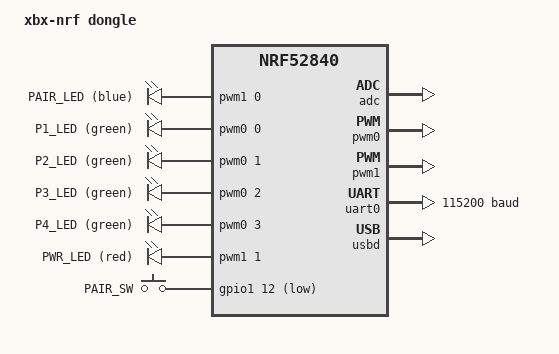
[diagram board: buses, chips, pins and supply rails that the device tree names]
/*
 * xbx-nrf dongle, Rev1 (pcb/xbx-nrf-dongle/), shared by both variants. Raytac
 * MDBT50Q-U1MV2 in normal voltage mode: VDD and VDDH from a 3.3 V LDO, so
 * REG0 is unused. The module
 * carries the REG1 DC/DC inductors. LEDs sink to their GPIO (active low),
 * so their PWM pins are open-drain: "off" floats the pin instead of driving
 * it high.
 */

#include <nordic/nrf52840_qiaa.dtsi>
#include "xbx_dongle_nrf52840-pinctrl.dtsi"
#include <zephyr/dt-bindings/input/input-event-codes.h>
#include <zephyr/dt-bindings/gpio/nordic-nrf-gpio.h>

/ {
	model = "xbx-nrf dongle";
	compatible = "xbx-nrf,dongle";

	chosen {
		zephyr,sram = &sram0;
		zephyr,flash = &flash0;
		zephyr,console = &uart0;
		zephyr,shell-uart = &uart0;
	};

	/* 1 ms period; brightness from the configurator (leds.c) */
	pwmleds {
		compatible = "pwm-leds";

		/* blue, 180 Ω: high drive (low side) */
		pair_led: pair_led {
			pwms = <&pwm1 0 PWM_MSEC(1) PWM_POLARITY_INVERTED>;
			label = "PAIR_LED (blue)";
		};

		p1_led: p1_led {
			pwms = <&pwm0 0 PWM_MSEC(1) PWM_POLARITY_INVERTED>;
			label = "P1_LED (green)";
		};

		p2_led: p2_led {
			pwms = <&pwm0 1 PWM_MSEC(1) PWM_POLARITY_INVERTED>;
			label = "P2_LED (green)";
		};

		p3_led: p3_led {
			pwms = <&pwm0 2 PWM_MSEC(1) PWM_POLARITY_INVERTED>;
			label = "P3_LED (green)";
		};

		p4_led: p4_led {
			pwms = <&pwm0 3 PWM_MSEC(1) PWM_POLARITY_INVERTED>;
			label = "P4_LED (green)";
		};

		/* only with JP1 2–3 bridged (pinctrl: why open-drain matters here) */
		pwr_led: pwr_led {
			pwms = <&pwm1 1 PWM_MSEC(1) PWM_POLARITY_INVERTED>;
			label = "PWR_LED (red)";
		};
	};

	buttons {
		compatible = "gpio-keys";

		pair_sw: pair_sw {
			gpios = <&gpio1 12 (GPIO_PULL_UP | GPIO_ACTIVE_LOW)>;
			label = "PAIR_SW";
			zephyr,code = <INPUT_KEY_0>;
		};
	};

	aliases {
		sw0 = &pair_sw;
		pwm-led0 = &pair_led;
		pwm-led1 = &p1_led;
		pwm-led2 = &p2_led;
		pwm-led3 = &p3_led;
		pwm-led4 = &p4_led;
		pwm-led5 = &pwr_led;
		watchdog0 = &wdt0;
	};
};

&reg1 {
	regulator-initial-mode = <NRF5X_REG_MODE_DCDC>;
};

&uicr {
	gpio-as-nreset;
};

&adc {
	status = "okay";
};

&pwm0 {
	status = "okay";
	pinctrl-0 = <&pwm0_default>;
	pinctrl-1 = <&pwm0_sleep>;
	pinctrl-names = "default", "sleep";
};

&pwm1 {
	status = "okay";
	pinctrl-0 = <&pwm1_default>;
	pinctrl-1 = <&pwm1_sleep>;
	pinctrl-names = "default", "sleep";
};

&gpiote {
	status = "okay";
};

&gpio0 {
	status = "okay";
};

&gpio1 {
	status = "okay";
};

&uart0 {
	compatible = "nordic,nrf-uarte";
	status = "okay";
	current-speed = <115200>;
	pinctrl-0 = <&uart0_default>;
	pinctrl-1 = <&uart0_sleep>;
	pinctrl-names = "default", "sleep";
};

zephyr_udc0: &usbd {
	compatible = "nordic,nrf-usbd";
	status = "okay";
};
